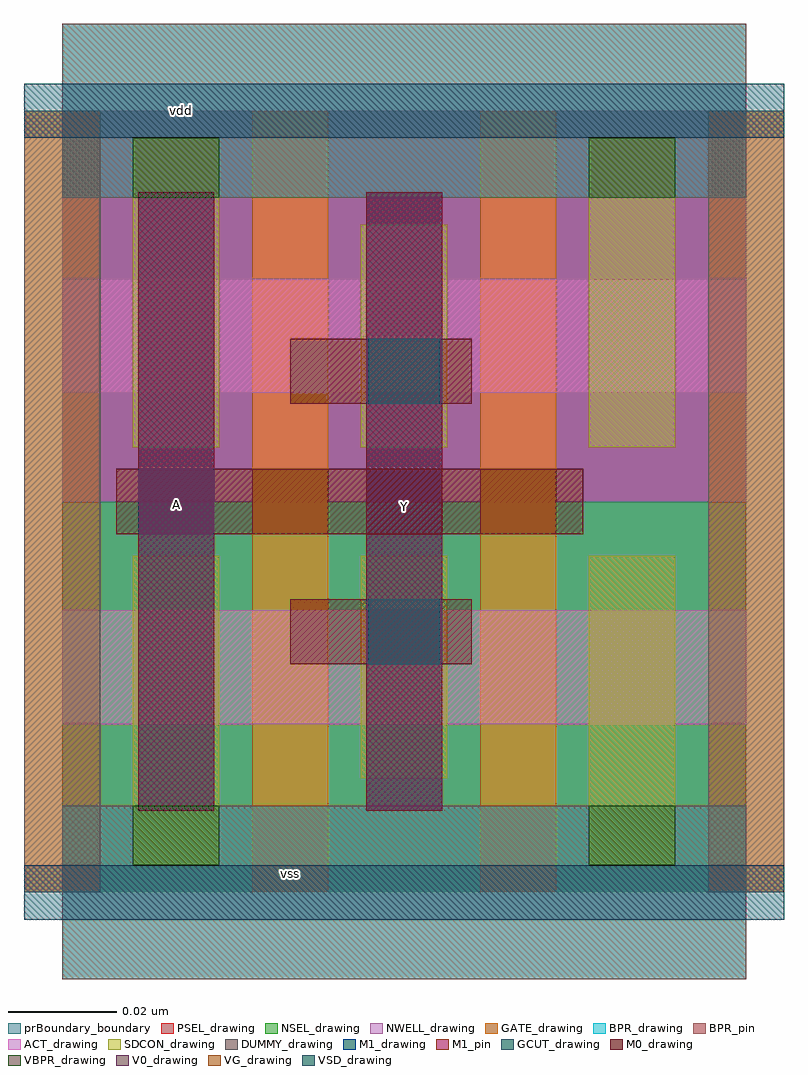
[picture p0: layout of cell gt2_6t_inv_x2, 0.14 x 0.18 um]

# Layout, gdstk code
import gdstk
lib = gdstk.Library(unit=1e-6, precision=5e-10)
def R(c, l, rs):  # rectangles x0, y0, x1, y1
    for r in rs: c.add(gdstk.rectangle(r[:2], r[2:], *l))
def A(c, l, x, y, w, h, nx, ny, dx, dy):  # array of equal rectangles
    R(c, l, [(x+i*dx, y+j*dy, x+i*dx+w, y+j*dy+h) for i in range(nx) for j in range(ny)])
NWELL_drawing = (1, 0)
ACT_drawing = (2, 0)
GATE_drawing = (3, 0)
DUMMY_drawing = (4, 0)
GCUT_drawing = (5, 0)
NSEL_drawing = (6, 0)
PSEL_drawing = (7, 0)
BPR_drawing = (8, 0)
BPR_pin = (8, 251)
VBPR_drawing = (9, 0)
SDCON_drawing = (10, 0)
VSD_drawing = (11, 0)
VG_drawing = (12, 0)
M0_drawing = (20, 0)
V0_drawing = (22, 0)
M1_drawing = (25, 0)
M1_pin = (25, 251)
prBoundary_boundary = (235, 250)

gt2_6t_inv_x2 = lib.new_cell('gt2_6t_inv_x2')
R(gt2_6t_inv_x2, NWELL_drawing, [(0,0.072,0.126,0.144)])
R(gt2_6t_inv_x2, ACT_drawing, [(0,0.031,0.126,0.052), (0,0.092,0.126,0.113)])
A(gt2_6t_inv_x2, GATE_drawing, -0.007, 0, 0.014, 0.144, 4, 1, 0.042, 0)
R(gt2_6t_inv_x2, DUMMY_drawing, [(-0.007,0,0.007,0.144), (0.119,0,0.133,0.144)])
R(gt2_6t_inv_x2, GCUT_drawing, [(-0.007,-0.005,0.133,0.005), (-0.007,0.139,0.133,0.149)])
R(gt2_6t_inv_x2, NSEL_drawing, [(0,0,0.126,0.072)])
R(gt2_6t_inv_x2, PSEL_drawing, [(0,0.072,0.126,0.144)])
R(gt2_6t_inv_x2, BPR_drawing, [(0,-0.016,0.126,0.016), (0,0.128,0.126,0.16)])
R(gt2_6t_inv_x2, BPR_pin, [(0,-0.016,0.126,0.016), (0,0.128,0.126,0.16)])
R(gt2_6t_inv_x2, VBPR_drawing, [(0.013,0.005,0.029,0.016), (0.097,0.005,0.113,0.016), (0.013,0.128,0.029,0.139), (0.097,0.128,0.113,0.139)])
R(gt2_6t_inv_x2, SDCON_drawing, [(0.013,0.005,0.029,0.062), (0.097,0.005,0.113,0.062), (0.055,0.021,0.071,0.062), (0.013,0.082,0.029,0.139), (0.055,0.082,0.071,0.123), (0.097,0.082,0.113,0.139)])
R(gt2_6t_inv_x2, VSD_drawing, [(0.0565,0.042,0.0695,0.054), (0.0565,0.09,0.0695,0.102)])
R(gt2_6t_inv_x2, VG_drawing, [(0.035,0.066,0.049,0.078), (0.077,0.066,0.091,0.078)])
R(gt2_6t_inv_x2, M0_drawing, [(0.042,0.042,0.0755,0.054), (0.01,0.066,0.096,0.078), (0.042,0.09,0.0755,0.102)])
R(gt2_6t_inv_x2, V0_drawing, [(0.056,0.042,0.07,0.054), (0.014,0.066,0.028,0.078), (0.056,0.09,0.07,0.102)])
R(gt2_6t_inv_x2, M1_drawing, [(0.014,0.015,0.028,0.129), (0.056,0.015,0.07,0.129)])
R(gt2_6t_inv_x2, M1_pin, [(0.014,0.015,0.028,0.129), (0.056,0.015,0.07,0.129)])
R(gt2_6t_inv_x2, prBoundary_boundary, [(0,0,0.126,0.144)])
gt2_6t_inv_x2.add(gdstk.Label('vss', (0.042,0.0035), layer=8, texttype=251))
gt2_6t_inv_x2.add(gdstk.Label('vdd', (0.022,0.144), layer=8, texttype=251))
gt2_6t_inv_x2.add(gdstk.Label('Y', (0.063,0.071), layer=25, texttype=251))
gt2_6t_inv_x2.add(gdstk.Label('A', (0.021,0.0715), layer=25, texttype=251))

lib.write_gds('gt2_6t_inv_x2.gds')
